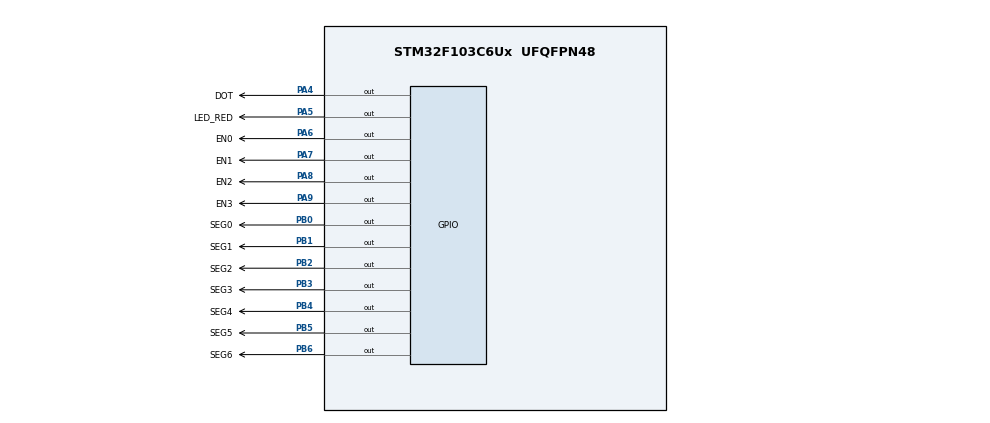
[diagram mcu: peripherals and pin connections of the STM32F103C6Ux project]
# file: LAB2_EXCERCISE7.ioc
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Mcu.Family=STM32F1
Mcu.Name=STM32F103C6Ux
Mcu.Package=UFQFPN48
NVIC.PriorityGroup=NVIC_PRIORITYGROUP_4
NVIC.TIM2_IRQn=true\:0\:0\:false\:false\:true\:true\:true
PA4.GPIO_Label=DOT
PA4.Signal=GPIO_Output
PA5.GPIO_Label=LED_RED
PA5.Signal=GPIO_Output
PA6.GPIO_Label=EN0
PA6.Signal=GPIO_Output
PA7.GPIO_Label=EN1
PA7.Signal=GPIO_Output
PA8.GPIO_Label=EN2
PA8.Signal=GPIO_Output
PA9.GPIO_Label=EN3
PA9.Signal=GPIO_Output
PB0.GPIO_Label=SEG0
PB0.Signal=GPIO_Output
PB1.GPIO_Label=SEG1
PB1.Signal=GPIO_Output
PB2.GPIO_Label=SEG2
PB2.Signal=GPIO_Output
PB3.GPIO_Label=SEG3
PB3.Signal=GPIO_Output
PB4.GPIO_Label=SEG4
PB4.Signal=GPIO_Output
PB5.GPIO_Label=SEG5
PB5.Signal=GPIO_Output
PB6.GPIO_Label=SEG6
PB6.Signal=GPIO_Output
ProjectManager.HeapSize=0x200
ProjectManager.StackSize=0x400
ProjectManager.TargetToolchain=STM32CubeIDE
RCC.APB1Freq_Value=8000000
RCC.APB2Freq_Value=8000000
TIM2.Period=9
TIM2.Prescaler=7999
VP_SYS_VS_ND.Mode=No_Debug
VP_TIM2_VS_ClockSourceINT.Mode=Internal
board=custom

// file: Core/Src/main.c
/* USER CODE BEGIN Header */
/**
  ******************************************************************************
  * @file           : main.c
  * @brief          : Main program body
  ******************************************************************************
  * @attention
  *
  * <h2><center>&copy; Copyright (c) 2025 STMicroelectronics.
  * All rights reserved.</center></h2>
  *
  * This software component is licensed by ST under BSD 3-Clause license,
  * the "License"; You may not use this file except in compliance with the
  * License. You may obtain a copy of the License at:
  *                        opensource.org/licenses/BSD-3-Clause
  *
  ******************************************************************************
  */
/* USER CODE END Header */
#include "main.h"

TIM_HandleTypeDef htim2;

/* USER CODE BEGIN PV */
int led_buffer[4] = {0,0,0,0};
int hour = 15, minute = 8, second = 50;
void display7SEG(int num) {
    switch (num) {
        case 0:
            HAL_GPIO_WritePin(GPIOB, SEG0_Pin, RESET);
            HAL_GPIO_WritePin(GPIOB, SEG1_Pin, RESET);
            HAL_GPIO_WritePin(GPIOB, SEG2_Pin, RESET);
            HAL_GPIO_WritePin(GPIOB, SEG3_Pin, RESET);
            HAL_GPIO_WritePin(GPIOB, SEG4_Pin, RESET);
            HAL_GPIO_WritePin(GPIOB, SEG5_Pin, RESET);
            HAL_GPIO_WritePin(GPIOB, SEG6_Pin, SET);  // g = off
            break;

        case 1:
            HAL_GPIO_WritePin(GPIOB, SEG0_Pin, SET);
            HAL_GPIO_WritePin(GPIOB, SEG1_Pin, RESET);
            HAL_GPIO_WritePin(GPIOB, SEG2_Pin, RESET);
            HAL_GPIO_WritePin(GPIOB, SEG3_Pin, SET);
            HAL_GPIO_WritePin(GPIOB, SEG4_Pin, SET);
            HAL_GPIO_WritePin(GPIOB, SEG5_Pin, SET);
            HAL_GPIO_WritePin(GPIOB, SEG6_Pin, SET);
            break;

        case 2:
            HAL_GPIO_WritePin(GPIOB, SEG0_Pin, RESET);
            HAL_GPIO_WritePin(GPIOB, SEG1_Pin, RESET);
            HAL_GPIO_WritePin(GPIOB, SEG2_Pin, SET);
            HAL_GPIO_WritePin(GPIOB, SEG3_Pin, RESET);
            HAL_GPIO_WritePin(GPIOB, SEG4_Pin, RESET);
            HAL_GPIO_WritePin(GPIOB, SEG5_Pin, SET);
            HAL_GPIO_WritePin(GPIOB, SEG6_Pin, RESET);
            break;

        case 3:
            HAL_GPIO_WritePin(GPIOB, SEG0_Pin, RESET);
            HAL_GPIO_WritePin(GPIOB, SEG1_Pin, RESET);
            HAL_GPIO_WritePin(GPIOB, SEG2_Pin, RESET);
            HAL_GPIO_WritePin(GPIOB, SEG3_Pin, RESET);
            HAL_GPIO_WritePin(GPIOB, SEG4_Pin, SET);
            HAL_GPIO_WritePin(GPIOB, SEG5_Pin, SET);
            HAL_GPIO_WritePin(GPIOB, SEG6_Pin, RESET);
            break;

        case 4:
            HAL_GPIO_WritePin(GPIOB, SEG0_Pin, SET);
            HAL_GPIO_WritePin(GPIOB, SEG1_Pin, RESET);
            HAL_GPIO_WritePin(GPIOB, SEG2_Pin, RESET);
            HAL_GPIO_WritePin(GPIOB, SEG3_Pin, SET);
            HAL_GPIO_WritePin(GPIOB, SEG4_Pin, SET);
            HAL_GPIO_WritePin(GPIOB, SEG5_Pin, RESET);
            HAL_GPIO_WritePin(GPIOB, SEG6_Pin, RESET);
            break;

        case 5:
            HAL_GPIO_WritePin(GPIOB, SEG0_Pin, RESET);
            HAL_GPIO_WritePin(GPIOB, SEG1_Pin, SET);
            HAL_GPIO_WritePin(GPIOB, SEG2_Pin, RESET);
            HAL_GPIO_WritePin(GPIOB, SEG3_Pin, RESET);
            HAL_GPIO_WritePin(GPIOB, SEG4_Pin, SET);
            HAL_GPIO_WritePin(GPIOB, SEG5_Pin, RESET);
            HAL_GPIO_WritePin(GPIOB, SEG6_Pin, RESET);
            break;

        case 6:
            HAL_GPIO_WritePin(GPIOB, SEG0_Pin, RESET);
            HAL_GPIO_WritePin(GPIOB, SEG1_Pin, SET);
            HAL_GPIO_WritePin(GPIOB, SEG2_Pin, RESET);
            HAL_GPIO_WritePin(GPIOB, SEG3_Pin, RESET);
            HAL_GPIO_WritePin(GPIOB, SEG4_Pin, RESET);
            HAL_GPIO_WritePin(GPIOB, SEG5_Pin, RESET);
            HAL_GPIO_WritePin(GPIOB, SEG6_Pin, RESET);
            break;

        case 7:
            HAL_GPIO_WritePin(GPIOB, SEG0_Pin, RESET);
            HAL_GPIO_WritePin(GPIOB, SEG1_Pin, RESET);
            HAL_GPIO_WritePin(GPIOB, SEG2_Pin, RESET);
            HAL_GPIO_WritePin(GPIOB, SEG3_Pin, SET);
            HAL_GPIO_WritePin(GPIOB, SEG4_Pin, SET);
            HAL_GPIO_WritePin(GPIOB, SEG5_Pin, SET);
            HAL_GPIO_WritePin(GPIOB, SEG6_Pin, SET);
            break;

        case 8:
            HAL_GPIO_WritePin(GPIOB, SEG0_Pin, RESET);
            HAL_GPIO_WritePin(GPIOB, SEG1_Pin, RESET);
            HAL_GPIO_WritePin(GPIOB, SEG2_Pin, RESET);
            HAL_GPIO_WritePin(GPIOB, SEG3_Pin, RESET);
            HAL_GPIO_WritePin(GPIOB, SEG4_Pin, RESET);
            HAL_GPIO_WritePin(GPIOB, SEG5_Pin, RESET);
            HAL_GPIO_WritePin(GPIOB, SEG6_Pin, RESET);
            break;

        case 9:
            HAL_GPIO_WritePin(GPIOB, SEG0_Pin, RESET);
            HAL_GPIO_WritePin(GPIOB, SEG1_Pin, RESET);
            HAL_GPIO_WritePin(GPIOB, SEG2_Pin, RESET);
            HAL_GPIO_WritePin(GPIOB, SEG3_Pin, RESET);
            HAL_GPIO_WritePin(GPIOB, SEG4_Pin, SET);
            HAL_GPIO_WritePin(GPIOB, SEG5_Pin, RESET);
            HAL_GPIO_WritePin(GPIOB, SEG6_Pin, RESET);
            break;

        default:
            HAL_GPIO_WritePin(GPIOB, SEG0_Pin|SEG1_Pin|SEG2_Pin|
                                       SEG3_Pin|SEG4_Pin|SEG5_Pin|SEG6_Pin, SET);
            break;
    }
}
/* USER CODE END PV */

void SystemClock_Config(void);
static void MX_GPIO_Init(void);
static void MX_TIM2_Init(void);

/* USER CODE BEGIN 0 */
int timer0_counter = 0;
int timer0_flag = 0;
int TIMER_CYCLE = 10;
int timer1_counter = 0;
int timer1_flag = 0;
void updateClockBuffer(){
	  led_buffer[0] = hour/10;
	  led_buffer[1] = hour%10;
	  led_buffer[2] = minute/10;
	  led_buffer[3] = minute%10;
}

void setTimer0(int duration ){
	timer0_counter = duration/TIMER_CYCLE;
	timer0_flag = 0;
}
void setTimer1(int duration ){
	timer1_counter = duration/TIMER_CYCLE;
	timer1_flag = 0;
}
int index_led = 0;

 void update7SEG(int index){
	  if (index >= 4) index = 0;
	  switch (index){
		  case 0:
			  // TO D0
			  HAL_GPIO_WritePin(GPIOA, EN0_Pin, RESET);
			  HAL_GPIO_WritePin(GPIOA, EN1_Pin, SET);
			  HAL_GPIO_WritePin(GPIOA, EN2_Pin, SET);
			  HAL_GPIO_WritePin(GPIOA, EN3_Pin, SET);
			  display7SEG(led_buffer[0]);
			  break;
		  case 1:
			  HAL_GPIO_WritePin(GPIOA, EN0_Pin, SET);
			  HAL_GPIO_WritePin(GPIOA, EN1_Pin, RESET);
			  HAL_GPIO_WritePin(GPIOA, EN2_Pin, SET);
			  HAL_GPIO_WritePin(GPIOA, EN3_Pin, SET);
			  display7SEG(led_buffer[1]);
			  break;
		  case 2:
			  HAL_GPIO_WritePin(GPIOA, EN0_Pin, SET);
			  HAL_GPIO_WritePin(GPIOA, EN1_Pin, SET);
			  HAL_GPIO_WritePin(GPIOA, EN2_Pin, RESET);
			  HAL_GPIO_WritePin(GPIOA, EN3_Pin, SET);
			  display7SEG(led_buffer[2]);
			  break;
		  case 3:
			  HAL_GPIO_WritePin(GPIOA, EN0_Pin, SET);
			  HAL_GPIO_WritePin(GPIOA, EN1_Pin, SET);
			  HAL_GPIO_WritePin(GPIOA, EN2_Pin, SET);
			  HAL_GPIO_WritePin(GPIOA, EN3_Pin, RESET);
			  display7SEG(led_buffer[3]);
			  break;
		  default:
			  HAL_GPIO_WritePin(GPIOA, EN0_Pin, SET);
			  HAL_GPIO_WritePin(GPIOA, EN1_Pin, SET);
			  HAL_GPIO_WritePin(GPIOA, EN2_Pin, SET);
			  HAL_GPIO_WritePin(GPIOA, EN3_Pin, SET);
			  display7SEG(0);
			  break;

	  }
  }
void timer_run(){
	if (timer0_counter > 0){
		timer0_counter--;
		if (timer0_counter == 0) timer0_flag = 1;
	}
	if (timer1_counter > 0){
		timer1_counter--;
		if (timer1_counter == 0) timer1_flag = 1;
	}

}
/* USER CODE END 0 */

int main(void)
{

  /* MCU Configuration--------------------------------------------------------*/

  /* Reset of all peripherals, Initializes the Flash interface and the Systick. */
  HAL_Init();

  /* Configure the system clock */
  SystemClock_Config();

  /* Initialize all configured peripherals */
  MX_GPIO_Init();
  MX_TIM2_Init();
  /* USER CODE BEGIN 2 */
  HAL_TIM_Base_Start_IT(&htim2);
  /* USER CODE END 2 */

  /* Infinite loop */
  /* USER CODE BEGIN WHILE */
  setTimer0(1000);
  setTimer1(100);
  while (1)
  {
		if (timer0_flag == 1){
			  setTimer0(1000);
			  HAL_GPIO_TogglePin(GPIOA, LED_RED_Pin);
			  HAL_GPIO_TogglePin(GPIOA, DOT_Pin);
			  second++;
			  if ( second >= 60) {
				  second = 0;
				  minute ++;
			  }
			  if ( minute >= 60) {
				  minute = 0;
				  hour ++;
			  }
			  if (hour >= 24){
				  hour = 0;
			  }
			  updateClockBuffer();
		}
		if (timer1_flag == 1){
			setTimer1(100);
			update7SEG(index_led++);
			if (index_led >=4) index_led = 0;
		}
    /* USER CODE END WHILE */

  }
}

void SystemClock_Config(void)
{
  RCC_OscInitTypeDef RCC_OscInitStruct = {0};
  RCC_ClkInitTypeDef RCC_ClkInitStruct = {0};

  /** Initializes the RCC Oscillators according to the specified parameters
  * in the RCC_OscInitTypeDef structure.
  */
  RCC_OscInitStruct.OscillatorType = RCC_OSCILLATORTYPE_HSI;
  RCC_OscInitStruct.HSIState = RCC_HSI_ON;
  RCC_OscInitStruct.HSICalibrationValue = RCC_HSICALIBRATION_DEFAULT;
  RCC_OscInitStruct.PLL.PLLState = RCC_PLL_NONE;
  if (HAL_RCC_OscConfig(&RCC_OscInitStruct) != HAL_OK)
  {
    Error_Handler();
  }
  /** Initializes the CPU, AHB and APB buses clocks
  */
  RCC_ClkInitStruct.ClockType = RCC_CLOCKTYPE_HCLK|RCC_CLOCKTYPE_SYSCLK
                              |RCC_CLOCKTYPE_PCLK1|RCC_CLOCKTYPE_PCLK2;
  RCC_ClkInitStruct.SYSCLKSource = RCC_SYSCLKSOURCE_HSI;
  RCC_ClkInitStruct.AHBCLKDivider = RCC_SYSCLK_DIV1;
  RCC_ClkInitStruct.APB1CLKDivider = RCC_HCLK_DIV1;
  RCC_ClkInitStruct.APB2CLKDivider = RCC_HCLK_DIV1;

  if (HAL_RCC_ClockConfig(&RCC_ClkInitStruct, FLASH_LATENCY_0) != HAL_OK)
  {
    Error_Handler();
  }
}

static void MX_TIM2_Init(void)
{

  TIM_ClockConfigTypeDef sClockSourceConfig = {0};
  TIM_MasterConfigTypeDef sMasterConfig = {0};

  htim2.Instance = TIM2;
  htim2.Init.Prescaler = 7999;
  htim2.Init.CounterMode = TIM_COUNTERMODE_UP;
  htim2.Init.Period = 9;
  htim2.Init.ClockDivision = TIM_CLOCKDIVISION_DIV1;
  htim2.Init.AutoReloadPreload = TIM_AUTORELOAD_PRELOAD_DISABLE;
  if (HAL_TIM_Base_Init(&htim2) != HAL_OK)
  {
    Error_Handler();
  }
  sClockSourceConfig.ClockSource = TIM_CLOCKSOURCE_INTERNAL;
  if (HAL_TIM_ConfigClockSource(&htim2, &sClockSourceConfig) != HAL_OK)
  {
    Error_Handler();
  }
  sMasterConfig.MasterOutputTrigger = TIM_TRGO_RESET;
  sMasterConfig.MasterSlaveMode = TIM_MASTERSLAVEMODE_DISABLE;
  if (HAL_TIMEx_MasterConfigSynchronization(&htim2, &sMasterConfig) != HAL_OK)
  {
    Error_Handler();
  }

}

static void MX_GPIO_Init(void)
{
  GPIO_InitTypeDef GPIO_InitStruct = {0};

  /* GPIO Ports Clock Enable */
  __HAL_RCC_GPIOA_CLK_ENABLE();
  __HAL_RCC_GPIOB_CLK_ENABLE();

  /*Configure GPIO pin Output Level */
  HAL_GPIO_WritePin(GPIOA, DOT_Pin|LED_RED_Pin|EN0_Pin|EN1_Pin
                          |EN2_Pin|EN3_Pin, GPIO_PIN_RESET);

  /*Configure GPIO pin Output Level */
  HAL_GPIO_WritePin(GPIOB, SEG0_Pin|SEG1_Pin|SEG2_Pin|SEG3_Pin
                          |SEG4_Pin|SEG5_Pin|SEG6_Pin, GPIO_PIN_RESET);

  /*Configure GPIO pins : DOT_Pin LED_RED_Pin EN0_Pin EN1_Pin
                           EN2_Pin EN3_Pin */
  GPIO_InitStruct.Pin = DOT_Pin|LED_RED_Pin|EN0_Pin|EN1_Pin
                          |EN2_Pin|EN3_Pin;
  GPIO_InitStruct.Mode = GPIO_MODE_OUTPUT_PP;
  GPIO_InitStruct.Pull = GPIO_NOPULL;
  GPIO_InitStruct.Speed = GPIO_SPEED_FREQ_LOW;
  HAL_GPIO_Init(GPIOA, &GPIO_InitStruct);

  /*Configure GPIO pins : SEG0_Pin SEG1_Pin SEG2_Pin SEG3_Pin
                           SEG4_Pin SEG5_Pin SEG6_Pin */
  GPIO_InitStruct.Pin = SEG0_Pin|SEG1_Pin|SEG2_Pin|SEG3_Pin
                          |SEG4_Pin|SEG5_Pin|SEG6_Pin;
  GPIO_InitStruct.Mode = GPIO_MODE_OUTPUT_PP;
  GPIO_InitStruct.Pull = GPIO_NOPULL;
  GPIO_InitStruct.Speed = GPIO_SPEED_FREQ_LOW;
  HAL_GPIO_Init(GPIOB, &GPIO_InitStruct);

}

/* USER CODE BEGIN 4 */
void HAL_TIM_PeriodElapsedCallback ( TIM_HandleTypeDef * htim ){
	timer_run();
}
/* USER CODE END 4 */

void Error_Handler(void)
{
  __disable_irq();
  while (1)
  {
  }
}

/************************ (C) COPYRIGHT STMicroelectronics *****END OF FILE****/
